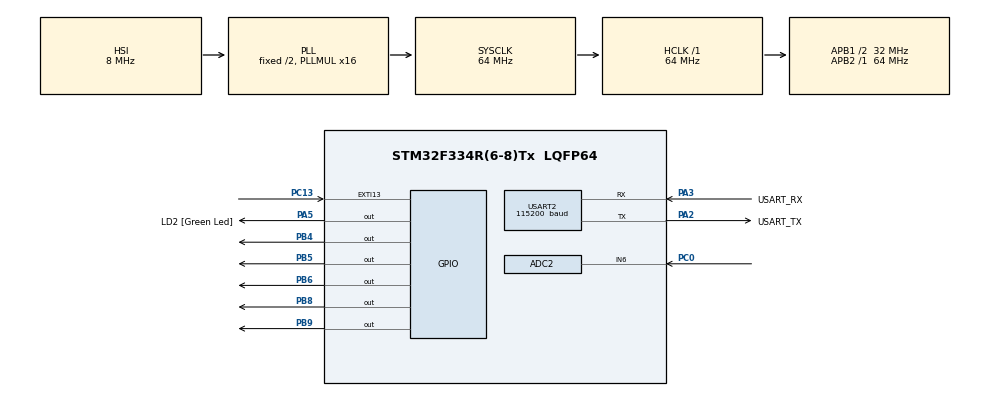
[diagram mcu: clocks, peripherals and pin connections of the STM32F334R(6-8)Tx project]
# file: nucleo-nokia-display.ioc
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ADC2.Channel-0\#ChannelRegularConversion=ADC_CHANNEL_6
ADC2.ClockPrescaler=ADC_CLOCK_SYNC_PCLK_DIV4
ADC2.ContinuousConvMode=ENABLE
ADC2.NbrOfConversionFlag=1
ADC2.Offset-0\#ChannelRegularConversion=0
ADC2.OffsetNumber-0\#ChannelRegularConversion=ADC_OFFSET_NONE
ADC2.Rank-0\#ChannelRegularConversion=1
ADC2.SamplingTime-0\#ChannelRegularConversion=ADC_SAMPLETIME_601CYCLES_5
ADC2.SamplingTimeOPAMP-0\#ChannelRegularConversion=ADC_SAMPLETIME_61CYCLES_5
ADC2.SubFamily=STM32F334x8
Mcu.Family=STM32F3
Mcu.Name=STM32F334R(6-8)Tx
Mcu.Package=LQFP64
NVIC.ADC1_2_IRQn=true\:0\:0\:false\:false\:true\:true\:true
NVIC.EXTI15_10_IRQn=true\:0\:0\:true\:false\:true\:true\:true
NVIC.PriorityGroup=NVIC_PRIORITYGROUP_0
NVIC.USART2_IRQn=true\:0\:0\:false\:false\:true\:true\:true
PA13.GPIO_Label=TMS
PA13.Signal=SYS_JTMS-SWDIO
PA14.GPIO_Label=TCK
PA14.Signal=SYS_JTCK-SWCLK
PA2.GPIO_Label=USART_TX
PA2.Mode=Asynchronous
PA2.Signal=USART2_TX
PA3.GPIO_Label=USART_RX
PA3.Mode=Asynchronous
PA3.Signal=USART2_RX
PA5.GPIO_Label=LD2 [Green Led]
PA5.Signal=GPIO_Output
PB3.GPIO_Label=SWO
PB3.Signal=SYS_JTDO-TRACESWO
PB4.Signal=GPIO_Output
PB5.Signal=GPIO_Output
PB6.Signal=GPIO_Output
PB8.Signal=GPIO_Output
PB9.Signal=GPIO_Output
PC0.Signal=ADCx_IN6
PC13.GPIO_ModeDefaultEXTI=GPIO_MODE_IT_RISING
PC13.Signal=GPXTI13
PC14\ /\ OSC32_IN.Mode=LSE-External-Oscillator
PC14\ /\ OSC32_IN.Signal=RCC_OSC32_IN
PC15\ /\ OSC32_OUT.GPIO_Label=RCC_OSC32_OUT
PC15\ /\ OSC32_OUT.Mode=LSE-External-Oscillator
PC15\ /\ OSC32_OUT.Signal=RCC_OSC32_OUT
PF0\ /\ OSC_IN.Signal=RCC_OSC_IN
PF1\ /\ OSC_OUT.Signal=RCC_OSC_OUT
ProjectManager.HeapSize=0x200
ProjectManager.StackSize=0x400
ProjectManager.TargetToolchain=STM32CubeIDE
RCC.AHBFreq_Value=64000000
RCC.APB1CLKDivider=RCC_HCLK_DIV2
RCC.APB1Freq_Value=32000000
RCC.APB1TimFreq_Value=64000000
RCC.APB2Freq_Value=64000000
RCC.APB2TimFreq_Value=64000000
RCC.CortexFreq_Value=64000000
RCC.FLatency-AdvancedSettings=FLASH_LATENCY_2
RCC.HCLKFreq_Value=64000000
RCC.HSE_VALUE=8000000
RCC.HSI_VALUE=8000000
RCC.PLLMUL=RCC_PLL_MUL16
RCC.RTCClockSelection=RCC_RTCCLKSOURCE_LSE
RCC.SYSCLKFreq_VALUE=64000000
RCC.SYSCLKSourceVirtual=RCC_SYSCLKSOURCE_PLLCLK
RTC.Date=31
RTC.Format=RTC_FORMAT_BIN
RTC.Hours=23
RTC.Minutes=59
RTC.Month=RTC_MONTH_DECEMBER
RTC.Seconds=59
RTC.Year=20
SH.ADCx_IN6.0=ADC1_IN6
SH.ADCx_IN6.1=ADC2_IN6,IN6-Single-Ended
USART2.BaudRate=115200 
USART2.VirtualMode-Asynchronous=VM_ASYNC
VP_RTC_VS_RTC_Activate.Mode=RTC_Enabled
VP_RTC_VS_RTC_Calendar.Mode=RTC_Calendar
board=NUCLEO-F334R8

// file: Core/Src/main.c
/* USER CODE BEGIN Header */
/**
  ******************************************************************************
  * @file           : main.c
  * @brief          : Main program body
  ******************************************************************************
  * @attention
  *
  * <h2><center>&copy; Copyright (c) 2021 STMicroelectronics.
  * All rights reserved.</center></h2>
  *
  * This software component is licensed by ST under BSD 3-Clause license,
  * the "License"; You may not use this file except in compliance with the
  * License. You may obtain a copy of the License at:
  *                        opensource.org/licenses/BSD-3-Clause
  *
  ******************************************************************************
  */
/* USER CODE END Header */
#include "main.h"

/* USER CODE BEGIN Includes */
#include "nokia5110_LCD.h"
#include "math.h"
/* USER CODE END Includes */

/* USER CODE BEGIN PD */
float Tc = 0;
double temp_alarm_level = 26;
char degree[] = {127, '\0'};
int state = 0;	//0 = temperature; 1 = clock; 2 = credits;
/* USER CODE END PD */

ADC_HandleTypeDef hadc2;

RTC_HandleTypeDef hrtc;

UART_HandleTypeDef huart2;

/* USER CODE BEGIN PV */
RTC_TimeTypeDef sTime;
RTC_DateTypeDef sDate;

uint16_t ADC_RES = 0;

uint8_t UART2_rxBuffer[1] = {0};
uint8_t UART2_rxBufferAll[24] = {0};
/* USER CODE END PV */

void SystemClock_Config(void);
static void MX_GPIO_Init(void);
static void MX_ADC2_Init(void);
static void MX_USART2_UART_Init(void);
static void MX_RTC_Init(void);

int main(void)
{

  /* MCU Configuration--------------------------------------------------------*/

  /* Reset of all peripherals, Initializes the Flash interface and the Systick. */
  HAL_Init();

  /* Configure the system clock */
  SystemClock_Config();

  /* Initialize all configured peripherals */
  MX_GPIO_Init();
  MX_ADC2_Init();
  MX_USART2_UART_Init();
  MX_RTC_Init();
  /* USER CODE BEGIN 2 */
  HAL_UART_Receive_IT (&huart2, UART2_rxBuffer, 1);
  HAL_ADC_Start_IT(&hadc2);		//Start ADC2

  //*Start Init LCD
  LCD_setRST(GPIOB, GPIO_PIN_4);
  LCD_setCE(GPIOB, GPIO_PIN_5);
  LCD_setDC(GPIOB, GPIO_PIN_6);
  LCD_setDIN(GPIOB, GPIO_PIN_8);
  LCD_setCLK(GPIOB, GPIO_PIN_9);
  LCD_init();
  //*End Init LCD

  /* USER CODE END 2 */

  /* Infinite loop */
  /* USER CODE BEGIN WHILE */
  while (1)
  {
	  updateDisplay();
	  HAL_Delay(1000);

    /* USER CODE END WHILE */

  }
}

void SystemClock_Config(void)
{
  RCC_OscInitTypeDef RCC_OscInitStruct = {0};
  RCC_ClkInitTypeDef RCC_ClkInitStruct = {0};
  RCC_PeriphCLKInitTypeDef PeriphClkInit = {0};

  /** Configure LSE Drive Capability
  */
  HAL_PWR_EnableBkUpAccess();
  __HAL_RCC_LSEDRIVE_CONFIG(RCC_LSEDRIVE_LOW);
  /** Initializes the RCC Oscillators according to the specified parameters
  * in the RCC_OscInitTypeDef structure.
  */
  RCC_OscInitStruct.OscillatorType = RCC_OSCILLATORTYPE_HSI|RCC_OSCILLATORTYPE_LSE;
  RCC_OscInitStruct.LSEState = RCC_LSE_ON;
  RCC_OscInitStruct.HSIState = RCC_HSI_ON;
  RCC_OscInitStruct.HSICalibrationValue = RCC_HSICALIBRATION_DEFAULT;
  RCC_OscInitStruct.PLL.PLLState = RCC_PLL_ON;
  RCC_OscInitStruct.PLL.PLLSource = RCC_PLLSOURCE_HSI;
  RCC_OscInitStruct.PLL.PLLMUL = RCC_PLL_MUL16;
  if (HAL_RCC_OscConfig(&RCC_OscInitStruct) != HAL_OK)
  {
    Error_Handler();
  }
  /** Initializes the CPU, AHB and APB buses clocks
  */
  RCC_ClkInitStruct.ClockType = RCC_CLOCKTYPE_HCLK|RCC_CLOCKTYPE_SYSCLK
                              |RCC_CLOCKTYPE_PCLK1|RCC_CLOCKTYPE_PCLK2;
  RCC_ClkInitStruct.SYSCLKSource = RCC_SYSCLKSOURCE_PLLCLK;
  RCC_ClkInitStruct.AHBCLKDivider = RCC_SYSCLK_DIV1;
  RCC_ClkInitStruct.APB1CLKDivider = RCC_HCLK_DIV2;
  RCC_ClkInitStruct.APB2CLKDivider = RCC_HCLK_DIV1;

  if (HAL_RCC_ClockConfig(&RCC_ClkInitStruct, FLASH_LATENCY_2) != HAL_OK)
  {
    Error_Handler();
  }
  PeriphClkInit.PeriphClockSelection = RCC_PERIPHCLK_RTC;
  PeriphClkInit.RTCClockSelection = RCC_RTCCLKSOURCE_LSE;
  if (HAL_RCCEx_PeriphCLKConfig(&PeriphClkInit) != HAL_OK)
  {
    Error_Handler();
  }
}

static void MX_ADC2_Init(void)
{

  ADC_ChannelConfTypeDef sConfig = {0};

  /** Common config
  */
  hadc2.Instance = ADC2;
  hadc2.Init.ClockPrescaler = ADC_CLOCK_SYNC_PCLK_DIV4;
  hadc2.Init.Resolution = ADC_RESOLUTION_12B;
  hadc2.Init.ScanConvMode = ADC_SCAN_DISABLE;
  hadc2.Init.ContinuousConvMode = ENABLE;
  hadc2.Init.DiscontinuousConvMode = DISABLE;
  hadc2.Init.ExternalTrigConvEdge = ADC_EXTERNALTRIGCONVEDGE_NONE;
  hadc2.Init.ExternalTrigConv = ADC_SOFTWARE_START;
  hadc2.Init.DataAlign = ADC_DATAALIGN_RIGHT;
  hadc2.Init.NbrOfConversion = 1;
  hadc2.Init.DMAContinuousRequests = DISABLE;
  hadc2.Init.EOCSelection = ADC_EOC_SINGLE_CONV;
  hadc2.Init.LowPowerAutoWait = DISABLE;
  hadc2.Init.Overrun = ADC_OVR_DATA_OVERWRITTEN;
  if (HAL_ADC_Init(&hadc2) != HAL_OK)
  {
    Error_Handler();
  }
  /** Configure Regular Channel
  */
  sConfig.Channel = ADC_CHANNEL_6;
  sConfig.Rank = ADC_REGULAR_RANK_1;
  sConfig.SingleDiff = ADC_SINGLE_ENDED;
  sConfig.SamplingTime = ADC_SAMPLETIME_601CYCLES_5;
  sConfig.OffsetNumber = ADC_OFFSET_NONE;
  sConfig.Offset = 0;
  if (HAL_ADC_ConfigChannel(&hadc2, &sConfig) != HAL_OK)
  {
    Error_Handler();
  }

}

static void MX_RTC_Init(void)
{

  RTC_TimeTypeDef sTime = {0};
  RTC_DateTypeDef sDate = {0};

  /** Initialize RTC Only
  */
  hrtc.Instance = RTC;
  hrtc.Init.HourFormat = RTC_HOURFORMAT_24;
  hrtc.Init.AsynchPrediv = 127;
  hrtc.Init.SynchPrediv = 255;
  hrtc.Init.OutPut = RTC_OUTPUT_DISABLE;
  hrtc.Init.OutPutPolarity = RTC_OUTPUT_POLARITY_HIGH;
  hrtc.Init.OutPutType = RTC_OUTPUT_TYPE_OPENDRAIN;
  if (HAL_RTC_Init(&hrtc) != HAL_OK)
  {
    Error_Handler();
  }

  /** Initialize RTC and set the Time and Date
  */
  sTime.Hours = 23;
  sTime.Minutes = 59;
  sTime.Seconds = 59;
  sTime.DayLightSaving = RTC_DAYLIGHTSAVING_NONE;
  sTime.StoreOperation = RTC_STOREOPERATION_RESET;
  if (HAL_RTC_SetTime(&hrtc, &sTime, RTC_FORMAT_BIN) != HAL_OK)
  {
    Error_Handler();
  }
  sDate.WeekDay = RTC_WEEKDAY_MONDAY;
  sDate.Month = RTC_MONTH_DECEMBER;
  sDate.Date = 31;
  sDate.Year = 20;

  if (HAL_RTC_SetDate(&hrtc, &sDate, RTC_FORMAT_BIN) != HAL_OK)
  {
    Error_Handler();
  }

}

static void MX_USART2_UART_Init(void)
{

  huart2.Instance = USART2;
  huart2.Init.BaudRate = 115200 ;
  huart2.Init.WordLength = UART_WORDLENGTH_8B;
  huart2.Init.StopBits = UART_STOPBITS_1;
  huart2.Init.Parity = UART_PARITY_NONE;
  huart2.Init.Mode = UART_MODE_TX_RX;
  huart2.Init.HwFlowCtl = UART_HWCONTROL_NONE;
  huart2.Init.OverSampling = UART_OVERSAMPLING_16;
  huart2.Init.OneBitSampling = UART_ONE_BIT_SAMPLE_DISABLE;
  huart2.AdvancedInit.AdvFeatureInit = UART_ADVFEATURE_NO_INIT;
  if (HAL_UART_Init(&huart2) != HAL_OK)
  {
    Error_Handler();
  }

}

static void MX_GPIO_Init(void)
{
  GPIO_InitTypeDef GPIO_InitStruct = {0};

  /* GPIO Ports Clock Enable */
  __HAL_RCC_GPIOC_CLK_ENABLE();
  __HAL_RCC_GPIOF_CLK_ENABLE();
  __HAL_RCC_GPIOA_CLK_ENABLE();
  __HAL_RCC_GPIOB_CLK_ENABLE();

  /*Configure GPIO pin Output Level */
  HAL_GPIO_WritePin(LD2_GPIO_Port, LD2_Pin, GPIO_PIN_RESET);

  /*Configure GPIO pin Output Level */
  HAL_GPIO_WritePin(GPIOB, GPIO_PIN_4|GPIO_PIN_5|GPIO_PIN_6|GPIO_PIN_8
                          |GPIO_PIN_9, GPIO_PIN_RESET);

  /*Configure GPIO pin : PC13 */
  GPIO_InitStruct.Pin = GPIO_PIN_13;
  GPIO_InitStruct.Mode = GPIO_MODE_IT_RISING;
  GPIO_InitStruct.Pull = GPIO_NOPULL;
  HAL_GPIO_Init(GPIOC, &GPIO_InitStruct);

  /*Configure GPIO pin : PC0 */
  GPIO_InitStruct.Pin = GPIO_PIN_0;
  GPIO_InitStruct.Mode = GPIO_MODE_ANALOG;
  GPIO_InitStruct.Pull = GPIO_NOPULL;
  HAL_GPIO_Init(GPIOC, &GPIO_InitStruct);

  /*Configure GPIO pin : LD2_Pin */
  GPIO_InitStruct.Pin = LD2_Pin;
  GPIO_InitStruct.Mode = GPIO_MODE_OUTPUT_PP;
  GPIO_InitStruct.Pull = GPIO_NOPULL;
  GPIO_InitStruct.Speed = GPIO_SPEED_FREQ_LOW;
  HAL_GPIO_Init(LD2_GPIO_Port, &GPIO_InitStruct);

  /*Configure GPIO pins : PB4 PB5 PB6 PB8
                           PB9 */
  GPIO_InitStruct.Pin = GPIO_PIN_4|GPIO_PIN_5|GPIO_PIN_6|GPIO_PIN_8
                          |GPIO_PIN_9;
  GPIO_InitStruct.Mode = GPIO_MODE_OUTPUT_PP;
  GPIO_InitStruct.Pull = GPIO_NOPULL;
  GPIO_InitStruct.Speed = GPIO_SPEED_FREQ_LOW;
  HAL_GPIO_Init(GPIOB, &GPIO_InitStruct);

  /* EXTI interrupt init*/
  HAL_NVIC_SetPriority(EXTI15_10_IRQn, 0, 0);
  HAL_NVIC_EnableIRQ(EXTI15_10_IRQn);

}

/* USER CODE BEGIN 4 */

void calculateTemp() {
	float ADC_Max = 4095.0;
	float Vs = 3.3;
	float R1 = 1000.0;		//Voltage divider resistance value
	float Beta = 3950.0;	//Beta value
	float To = 298.15;		//Temperature in Kelvin for 25 degree Celsius
	float Ro = 1000.0;		//Resistance of Thermistor at 25 degree Celsius
	float Vout, Rt = 0;

	Vout = ADC_RES * Vs / ADC_Max;
	Rt = R1 * Vout / (Vs - Vout);
	Tc = 1/(1/To + log(Rt/Ro)/Beta) - 273.15;  // Temperature in Celsius
}

void updateDisplayTemp() {
	LCD_clrScr();
	LCD_print("Temperature: ", 6, 0);

	calculateTemp();
	char temp[8];
	sprintf(temp, "%.1f", Tc);
	strcat(temp, degree);
	strcat(temp, "C");
	LCD_print(temp, 25, 1);

	LCD_print("Alarm: ", 0, 3);
	sprintf(temp, "%.1f", temp_alarm_level);
	strcat(temp, degree);
	strcat(temp, "C");
	LCD_print(temp, 40, 3);

	if(Tc >= temp_alarm_level) {
		LCD_print("!!!TOO HOT!!!", 2, 5);
		HAL_GPIO_WritePin(GPIOA, GPIO_PIN_5, GPIO_PIN_SET);
	}
	else {
		HAL_GPIO_WritePin(GPIOA, GPIO_PIN_5, GPIO_PIN_RESET);
	}
}

void updateDisplayClock() {
	LCD_clrScr();
	HAL_RTC_GetTime(&hrtc, &sTime, RTC_FORMAT_BIN);
	HAL_RTC_GetDate(&hrtc, &sDate, RTC_FORMAT_BIN);

	char Message[64];
	sprintf((char*)Message, "%02d:%02d:%02d", sTime.Hours, sTime.Minutes, sTime.Seconds);

	LCD_print(Message, 16, 1);
	sprintf((char*)Message, "%02d.%02d.20%02d", sDate.Date, sDate.Month, sDate.Year);
	LCD_print(Message, 12, 3);
}

void updateDisplayCredits() {
	LCD_clrScr();
	LCD_print("Authors: ", 0, 1);
	LCD_print("Czuba Lukasz", 0, 2);
	LCD_print("Wojciech Jacoszek", 0, 3);
	LCD_print("Jan Krupinski", 0, 4);
}

void updateDisplay() {
	if(state == 0) updateDisplayTemp();
	else if(state == 1) updateDisplayClock();
	else if(state == 2) updateDisplayCredits();
}

void changeDisplayState() {
	if(state == 2) state = 0;
	else state++;

	updateDisplay();
}

void HAL_GPIO_EXTI_Callback(uint16_t GPIO_Pin)
{
	changeDisplayState();
}

void HAL_ADC_ConvCpltCallback(ADC_HandleTypeDef* hadc2)
{
    // Read & Update The ADC Result
	ADC_RES = HAL_ADC_GetValue(hadc2);
}

void HAL_UART_RxCpltCallback(UART_HandleTypeDef *huart)
{
	if( UART2_rxBuffer[0] == '/') {
		for(int i = 0; i < 24; i++) UART2_rxBufferAll[i] = 0;
		UART2_rxBufferAll[0] = UART2_rxBuffer[0];
		HAL_UART_Transmit(&huart2, "\n", 1, 100);
	}
	else if(UART2_rxBuffer[0] == 13) { // ENTER

		uint16_t command_size = sprintf(UART2_rxBufferAll, UART2_rxBufferAll);
		char command[command_size + 1];

		int i = 0;
		while( (i < command_size) && (UART2_rxBufferAll[i] != 32) ) {
			command[i] = UART2_rxBufferAll[i];
			i++;
		}
		command[i] = '\0';

		char argument[command_size];
		if(UART2_rxBufferAll[i] == 32) {	//if space exist
			i++; // pass space
			uint16_t argument_size = command_size - i;
			int j = 0;
			while( i < command_size) {
				argument[j] = UART2_rxBufferAll[i];
				i++;
				j++;
			}
			argument[argument_size] = '\0';
		}

		char command_help[] = "/help";
		char command_setAlarm[] = "/setAlarm";
		char command_getTemp[] = "/getTemp";
		char command_getTime[] = "/getTime";
		char command_setTime[] = "/setTime";
		char command_setDate[] = "/setDate";

		int menu_help = strcmp(command_help, command);
		int menu_setAlarm = strcmp(command_setAlarm, command);
		int menu_getTemp = strcmp(command_getTemp, command);
		int menu_getTime = strcmp(command_getTime, command);
		int menu_setTime = strcmp(command_setTime, command);
		int menu_setDate = strcmp(command_setDate, command);

		if(menu_help == 0) {
			char message[] = "\n/getTemp - wyswietla aktualna tempreature\n"
					"/setAlarm NN.N - ustawia granice temperatury (np. /setAlarm 30.5)\n"
					"/getTime - wyswietla aktualny czas\n"
					"/setDate DD:MM:YY - ustawia date\n"
					"/setTime HH:MM:SS - ustawia godzine";
			HAL_UART_Transmit(&huart2, message, sizeof(message), 100);
		}
		else if(menu_setAlarm == 0) {
			temp_alarm_level = ((int)argument[0] - 48) * 10;
			temp_alarm_level += (int)argument[1] - 48;
			temp_alarm_level += ((double)argument[3] - 48) / 10.0;

			char message[] = "\nUstawiono alarm temperatury";
			HAL_UART_Transmit(&huart2, message, sizeof(message), 100);
		}
		else if(menu_getTemp == 0) {
			calculateTemp();
			char temp[8];
			sprintf(temp, "%.1f", Tc);
			strcat(temp, " C");

			char message[32];
			sprintf(message, "\nAktualna temperatura: %s", temp);
			uint16_t size = sprintf(message, message);
			HAL_UART_Transmit(&huart2, message, size, 100);
		}
		else if(menu_getTime == 0) {
			HAL_RTC_GetTime(&hrtc, &sTime, RTC_FORMAT_BIN);
			HAL_RTC_GetDate(&hrtc, &sDate, RTC_FORMAT_BIN);

			char Message[124];
			int MessageLen = sprintf((char*)Message, "\nDate: %02d.%02d.20%02d Time: %02d:%02d:%02d\n\r", sDate.Date, sDate.Month, sDate.Year, sTime.Hours, sTime.Minutes, sTime.Seconds);
			HAL_UART_Transmit(&huart2, Message, MessageLen, 100);

		}
		else if(menu_setTime == 0) {
			int time_h = ((int)argument[0] - 48) * 10 + (int)argument[1] - 48;
			sTime.Hours = time_h;

			int time_m = ((int)argument[3] - 48) * 10 + (int)argument[4] - 48;
			sTime.Minutes = time_m;

			int time_s = ((int)argument[6] - 48) * 10 + (int)argument[7] - 48;
			sTime.Seconds = time_s;

			if (HAL_RTC_SetTime(&hrtc, &sTime, RTC_FORMAT_BIN) != HAL_OK) {
				char message[] = "\nError";
				HAL_UART_Transmit(&huart2, message, sizeof(message), 100);
				Error_Handler();
			}
			else {
				char message[] = "\nSuccess";
				HAL_UART_Transmit(&huart2, message, sizeof(message), 100);
			}
		}
		else if(menu_setDate == 0) {
					int date_d = ((int)argument[0] - 48) * 10 + (int)argument[1] - 48;
					sDate.Date = date_d;

					int date_m = ((int)argument[3] - 48) * 10 + (int)argument[4] - 48;
					sDate.Month = (uint8_t)date_m;

					int date_y = ((int)argument[6] - 48) * 10 + (int)argument[7] - 48;
					sDate.Year = date_y;

					if (HAL_RTC_SetDate(&hrtc, &sDate, RTC_FORMAT_BIN) != HAL_OK) {
						char message[] = "\nError";
						HAL_UART_Transmit(&huart2, message, sizeof(message), 100);
						Error_Handler();
					}
					else {
						char message[] = "\nSuccess";
						HAL_UART_Transmit(&huart2, message, sizeof(message), 100);
					}

				}

	}
	else if(UART2_rxBufferAll[0] == '/') {
		for(int i = 0; i < 24; i++) {
			if(UART2_rxBufferAll[i] == 0) {
				UART2_rxBufferAll[i] = UART2_rxBuffer[0];
				break;
			}
		}
	}

	HAL_UART_Transmit(&huart2, UART2_rxBuffer, 1, 100);
    HAL_UART_Receive_IT(&huart2, UART2_rxBuffer, 1);
}

/* USER CODE END 4 */

void Error_Handler(void)
{
}

/************************ (C) COPYRIGHT STMicroelectronics *****END OF FILE****/
